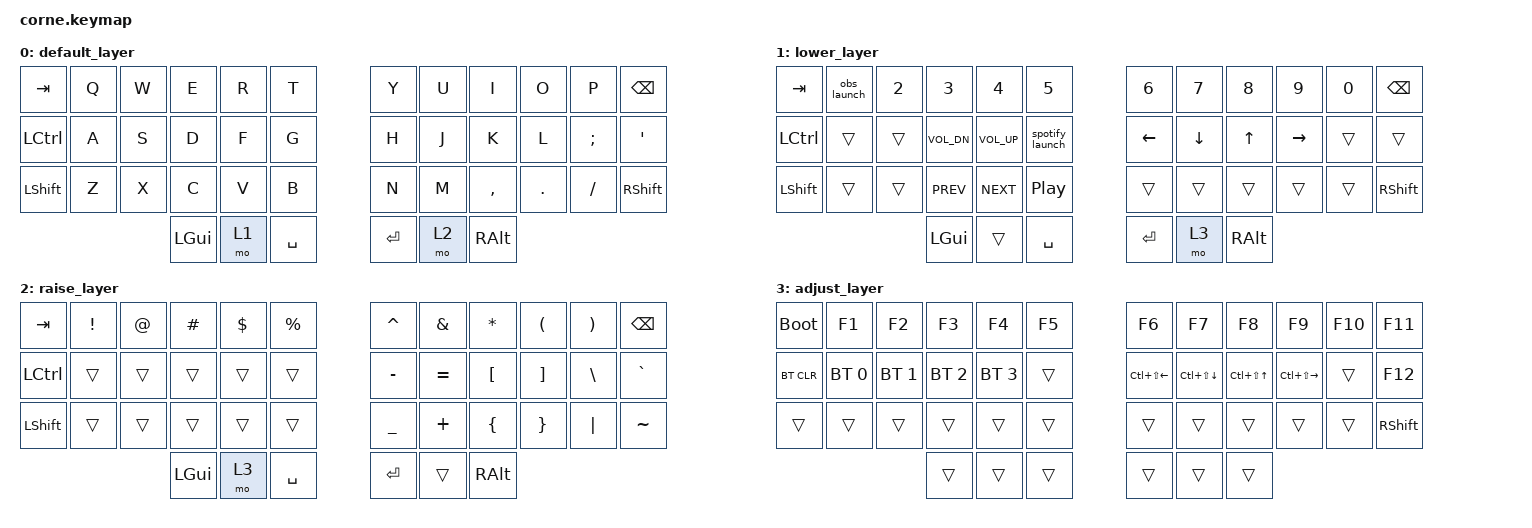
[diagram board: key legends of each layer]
/*
 * Custom Corne ZMK Layout - M0nk's Config
 *
 * Custom mods and media controls
 * App launchers via macros (map in GNOME settings)
 */

#include <behaviors.dtsi>
#include <dt-bindings/zmk/keys.h>
#include <dt-bindings/zmk/bt.h>

/ {
    macros {
        // Macro to launch OBS - sends LG(O) that you'll map in GNOME
        obs_launch: obs_launch {
            compatible = "zmk,behavior-macro";
            #binding-cells = <0>;
            bindings = <&kp LG(O)>;
        };

        // Macro to launch Spotify - sends LG(S)
        spotify_launch: spotify_launch {
            compatible = "zmk,behavior-macro";
            #binding-cells = <0>;
            bindings = <&kp LG(S)>;
        };
    };

    keymap {
        compatible = "zmk,keymap";

        // Layer 0: QWERTY
        default_layer {
            bindings = <
// ╭─────────────┬─────────────┬─────────────┬─────────────┬─────────────┬─────────────╮   ╭─────────────┬─────────────┬─────────────┬─────────────┬─────────────┬─────────────╮
    &kp TAB       &kp Q         &kp W         &kp E         &kp R         &kp T             &kp Y         &kp U         &kp I         &kp O         &kp P         &kp BSPC
// ├─────────────┼─────────────┼─────────────┼─────────────┼─────────────┼─────────────┤   ├─────────────┼─────────────┼─────────────┼─────────────┼─────────────┼─────────────┤
    &kp LCTRL     &kp A         &kp S         &kp D         &kp F         &kp G             &kp H         &kp J         &kp K         &kp L         &kp SEMI      &kp SQT
// ├─────────────┼─────────────┼─────────────┼─────────────┼─────────────┼─────────────┤   ├─────────────┼─────────────┼─────────────┼─────────────┼─────────────┼─────────────┤
    &kp LSHFT     &kp Z         &kp X         &kp C         &kp V         &kp B             &kp N         &kp M         &kp COMMA     &kp DOT       &kp FSLH      &kp RSHFT
// ╰─────────────┴─────────────┴─────────────┼─────────────┼─────────────┼─────────────┤   ├─────────────┼─────────────┼─────────────┼─────────────┴─────────────┴─────────────╯
                                              &kp LGUI      &mo 1         &kp SPACE         &kp RET       &mo 2         &kp RALT
//                                           ╰─────────────┴─────────────┴─────────────╯   ╰─────────────┴─────────────┴─────────────╯
            >;
        };

        // Layer 1: LOWER (Numbers + Media Controls)
        lower_layer {
            bindings = <
// ╭─────────────┬─────────────┬─────────────┬─────────────┬─────────────┬─────────────╮   ╭─────────────┬─────────────┬─────────────┬─────────────┬─────────────┬─────────────╮
    &kp TAB       &obs_launch   &kp N2        &kp N3        &kp N4        &kp N5            &kp N6        &kp N7        &kp N8        &kp N9        &kp N0        &kp BSPC
// ├─────────────┼─────────────┼─────────────┼─────────────┼─────────────┼─────────────┤   ├─────────────┼─────────────┼─────────────┼─────────────┼─────────────┼─────────────┤
    &kp LCTRL     &trans        &trans        &kp C_VOL_DN  &kp C_VOL_UP  &spotify_launch   &kp LEFT      &kp DOWN      &kp UP        &kp RIGHT     &trans        &trans
// ├─────────────┼─────────────┼─────────────┼─────────────┼─────────────┼─────────────┤   ├─────────────┼─────────────┼─────────────┼─────────────┼─────────────┼─────────────┤
    &kp LSHFT     &trans        &trans        &kp C_PREV    &kp C_NEXT    &kp C_PP          &trans        &trans        &trans        &trans        &trans        &kp RSHFT
// ╰─────────────┴─────────────┴─────────────┼─────────────┼─────────────┼─────────────┤   ├─────────────┼─────────────┼─────────────┼─────────────┴─────────────┴─────────────╯
                                              &kp LGUI      &trans        &kp SPACE         &kp RET       &mo 3         &kp RALT
//                                           ╰─────────────┴─────────────┴─────────────╯   ╰─────────────┴─────────────┴─────────────╯
            >;
        };

        // Layer 2: RAISE (Symbols)
        raise_layer {
            bindings = <
// ╭─────────────┬─────────────┬─────────────┬─────────────┬─────────────┬─────────────╮   ╭─────────────┬─────────────┬─────────────┬─────────────┬─────────────┬─────────────╮
    &kp TAB       &kp EXCL      &kp AT        &kp HASH      &kp DLLR      &kp PRCNT         &kp CARET     &kp AMPS      &kp ASTRK     &kp LPAR      &kp RPAR      &kp BSPC
// ├─────────────┼─────────────┼─────────────┼─────────────┼─────────────┼─────────────┤   ├─────────────┼─────────────┼─────────────┼─────────────┼─────────────┼─────────────┤
    &kp LCTRL     &trans        &trans        &trans        &trans        &trans            &kp MINUS     &kp EQUAL     &kp LBKT      &kp RBKT      &kp BSLH      &kp GRAVE
// ├─────────────┼─────────────┼─────────────┼─────────────┼─────────────┼─────────────┤   ├─────────────┼─────────────┼─────────────┼─────────────┼─────────────┼─────────────┤
    &kp LSHFT     &trans        &trans        &trans        &trans        &trans            &kp UNDER     &kp PLUS      &kp LBRC      &kp RBRC      &kp PIPE      &kp TILDE
// ╰─────────────┴─────────────┴─────────────┼─────────────┼─────────────┼─────────────┤   ├─────────────┼─────────────┼─────────────┼─────────────┴─────────────┴─────────────╯
                                              &kp LGUI      &mo 3         &kp SPACE         &kp RET       &trans        &kp RALT
//                                           ╰─────────────┴─────────────┴─────────────╯   ╰─────────────┴─────────────┴─────────────╯
            >;
        };

        // Layer 3: ADJUST (Function Keys + Bluetooth + Window Management)
        adjust_layer {
            bindings = <
// ╭─────────────┬─────────────┬─────────────┬─────────────┬─────────────┬─────────────╮   ╭─────────────┬─────────────┬─────────────┬─────────────┬─────────────┬─────────────╮
    &bootloader   &kp F1        &kp F2        &kp F3        &kp F4        &kp F5            &kp F6        &kp F7        &kp F8        &kp F9        &kp F10       &kp F11
// ├─────────────┼─────────────┼─────────────┼─────────────┼─────────────┼─────────────┤   ├─────────────┼─────────────┼─────────────┼─────────────┼─────────────┼─────────────┤
    &bt BT_CLR    &bt BT_SEL 0  &bt BT_SEL 1  &bt BT_SEL 2  &bt BT_SEL 3  &trans            &kp LC(LS(LEFT)) &kp LC(LS(DOWN)) &kp LC(LS(UP)) &kp LC(LS(RIGHT)) &trans &kp F12
// ├─────────────┼─────────────┼─────────────┼─────────────┼─────────────┼─────────────┤   ├─────────────┼─────────────┼─────────────┼─────────────┼─────────────┼─────────────┤
    &trans        &trans        &trans        &trans        &trans        &trans            &trans        &trans        &trans        &trans        &trans        &kp RSHFT
// ╰─────────────┴─────────────┴─────────────┼─────────────┼─────────────┼─────────────┤   ├─────────────┼─────────────┼─────────────┼─────────────┴─────────────┴─────────────╯
                                              &trans        &trans        &trans            &trans        &trans        &trans
//                                           ╰─────────────┴─────────────┴─────────────╯   ╰─────────────┴─────────────┴─────────────╯
            >;
        };
    };
};
